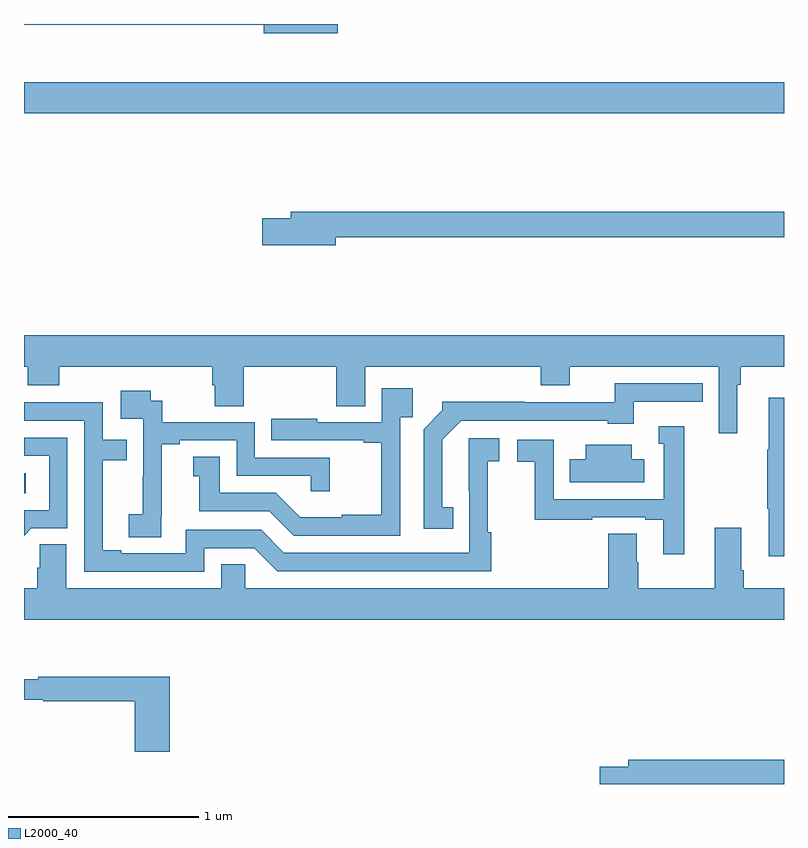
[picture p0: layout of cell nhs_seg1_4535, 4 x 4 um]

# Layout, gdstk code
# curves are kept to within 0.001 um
import gdstk
lib = gdstk.Library(unit=1e-6, precision=1e-09)
def R(c, l, rs):  # rectangles x0, y0, x1, y1
    for r in rs: c.add(gdstk.rectangle(r[:2], r[2:], *l))
def P(c, l, *ps):  # polygons
    for p in ps: c.add(gdstk.Polygon(p, *l))
L2000_40 = (2000, 40)

nhs_seg1_4535 = lib.new_cell('nhs_seg1_4535')
R(nhs_seg1_4535, L2000_40, [(357,553.73,357.01,553.834), (357,555.728,361,555.892)])
P(nhs_seg1_4535, L2000_40, [(358.651,556.199),(357,556.199),(357,556.194),(358.262,556.194),(358.262,556.151),(358.651,556.151)],
  [(358.642,555.076),(361,555.076),(361,555.212),(358.403,555.212),(358.403,555.176),(358.254,555.176),(358.254,555.034),(358.642,555.034)],
  [(360.754,554.3),(360.773,554.3),(360.773,554.396),(361,554.396),(361,554.56),(357,554.56),(357,554.396),(357.02,554.396),(357.02,554.297),(357.185,554.297),(357.185,554.396),(357.992,554.396),(357.992,554.298),(358.004,554.298),(358.004,554.188),(358.157,554.188),(358.157,554.396),(358.643,554.396),(358.643,554.188),(358.795,554.188),(358.795,554.396),(359.72,554.396),(359.72,554.297),(359.872,554.297),(359.872,554.396),(360.657,554.396),(360.657,554.046),(360.754,554.046)],
  [(359.258,553.655),(359.2,553.655),(359.2,554.011),(359.301,554.112),(360.072,554.112),(360.072,554.096),(360.208,554.096),(360.208,554.211),(360.572,554.211),(360.572,554.307),(360.109,554.307),(360.109,554.208),(359.636,554.208),(359.636,554.21),(359.202,554.21),(359.202,554.165),(359.103,554.066),(359.103,553.542),(359.258,553.542)],
  [(358.98,554.129),(359.045,554.129),(359.045,554.281),(358.884,554.281),(358.884,554.103),(358.543,554.103),(358.543,554.122),(358.3,554.122),(358.3,554.007),(358.787,554.007),(358.787,553.995),(358.879,553.995),(358.879,553.615),(358.673,553.615),(358.673,553.603),(358.454,553.603),(358.326,553.731),(358.03,553.731),(358.03,553.922),(357.89,553.922),(357.89,553.819),(357.923,553.819),(357.923,553.635),(358.29,553.635),(358.419,553.506),(358.98,553.506)],
  [(357.722,553.609),(357.724,553.609),(357.724,553.987),(357.82,553.987),(357.82,554.007),(358.119,554.007),(358.119,553.821),(358.509,553.821),(358.509,553.74),(358.61,553.74),(358.61,553.917),(358.215,553.917),(358.215,554.103),(357.728,554.103),(357.728,554.217),(357.666,554.217),(357.666,554.269),(357.51,554.269),(357.51,554.121),(357.627,554.121),(357.627,553.817),(357.626,553.817),(357.626,553.62),(357.552,553.62),(357.552,553.498),(357.722,553.498)],
  [(361,554.233),(360.92,554.233),(360.92,553.958),(360.913,553.958),(360.913,553.647),(360.92,553.647),(360.92,553.398),(361,553.398)],
  [(357.948,553.44),(358.212,553.44),(358.332,553.32),(359.459,553.32),(359.459,553.523),(359.442,553.523),(359.442,553.899),(359.5,553.899),(359.5,554.02),(359.342,554.02),(359.343,553.416),(358.368,553.416),(358.248,553.536),(357.852,553.536),(357.852,553.413),(357.511,553.413),(357.511,553.428),(357.415,553.428),(357.415,553.902),(357.542,553.902),(357.542,554.01),(357.414,554.01),(357.414,554.208),(357,554.208),(357,554.112),(357.318,554.112),(357.318,553.317),(357.948,553.317)],
  [(360.475,554.083),(360.341,554.083),(360.341,553.989),(360.366,553.989),(360.366,553.698),(359.787,553.698),(359.787,554.01),(359.595,554.01),(359.595,553.894),(359.689,553.894),(359.689,553.59),(359.99,553.59),(359.99,553.602),(360.269,553.602),(360.269,553.59),(360.365,553.59),(360.365,553.407),(360.475,553.407)],
  [(357.039,553.545),(357.228,553.545),(357.228,554.022),(357,554.022),(357,553.926),(357.132,553.926),(357.132,553.641),(357,553.641),(357,553.506)],
  [(360.265,553.909),(360.199,553.909),(360.199,553.984),(359.957,553.984),(359.957,553.909),(359.872,553.909),(359.872,553.787),(360.265,553.787)],
  [(361,553.228),(360.788,553.228),(360.788,553.324),(360.775,553.324),(360.775,553.549),(360.635,553.549),(360.635,553.228),(360.234,553.228),(360.234,553.367),(360.226,553.367),(360.226,553.517),(360.074,553.517),(360.074,553.228),(358.164,553.228),(358.164,553.355),(358.037,553.355),(358.037,553.228),(357.223,553.228),(357.223,553.46),(357.084,553.46),(357.084,553.337),(357.071,553.337),(357.071,553.228),(357,553.228),(357,553.064),(361,553.064)],
  [(357.767,552.763),(357.076,552.763),(357.076,552.75),(357,552.75),(357,552.642),(357.1,552.642),(357.1,552.634),(357.584,552.634),(357.584,552.369),(357.767,552.369)],
  [(361,552.326),(360.179,552.326),(360.179,552.29),(360.03,552.29),(360.03,552.199),(361,552.199)])

lib.write_gds('nhs_seg1_4535.gds')
